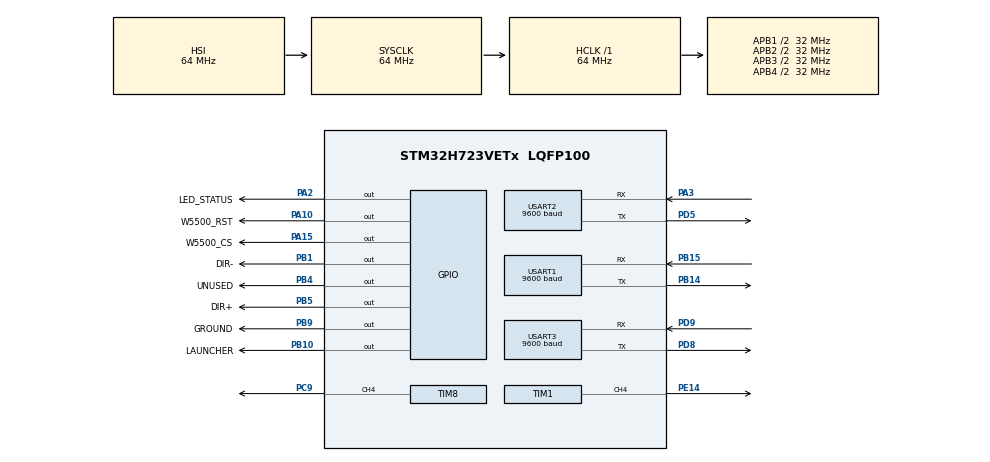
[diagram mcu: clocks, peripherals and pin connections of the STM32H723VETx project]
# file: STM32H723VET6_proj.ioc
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Dma.Request0=TIM1_CH4
Dma.TIM1_CH4.0.Direction=DMA_MEMORY_TO_PERIPH
Dma.TIM1_CH4.0.EventEnable=DISABLE
Dma.TIM1_CH4.0.FIFOMode=DMA_FIFOMODE_DISABLE
Dma.TIM1_CH4.0.Instance=DMA1_Stream0
Dma.TIM1_CH4.0.MemDataAlignment=DMA_MDATAALIGN_HALFWORD
Dma.TIM1_CH4.0.MemInc=DMA_MINC_ENABLE
Dma.TIM1_CH4.0.Mode=DMA_NORMAL
Dma.TIM1_CH4.0.PeriphDataAlignment=DMA_PDATAALIGN_HALFWORD
Dma.TIM1_CH4.0.PeriphInc=DMA_PINC_DISABLE
Dma.TIM1_CH4.0.Polarity=HAL_DMAMUX_REQ_GEN_RISING
Dma.TIM1_CH4.0.Priority=DMA_PRIORITY_LOW
Dma.TIM1_CH4.0.RequestNumber=1
Dma.TIM1_CH4.0.SignalID=NONE
Dma.TIM1_CH4.0.SyncEnable=DISABLE
Dma.TIM1_CH4.0.SyncPolarity=HAL_DMAMUX_SYNC_NO_EVENT
Dma.TIM1_CH4.0.SyncRequestNumber=1
Dma.TIM1_CH4.0.SyncSignalID=NONE
Mcu.Family=STM32H7
Mcu.Name=STM32H723VETx
Mcu.Package=LQFP100
NVIC.DMA1_Stream0_IRQn=true\:0\:0\:false\:false\:true\:false\:true\:true
NVIC.PriorityGroup=NVIC_PRIORITYGROUP_4
PA10.GPIO_Label=W5500_RST
PA10.GPIO_Speed=GPIO_SPEED_FREQ_HIGH
PA10.Signal=GPIO_Output
PA13(JTMS/SWDIO).Mode=Trace_Asynchronous_SW
PA13(JTMS/SWDIO).Signal=DEBUG_JTMS-SWDIO
PA14(JTCK/SWCLK).Mode=Trace_Asynchronous_SW
PA14(JTCK/SWCLK).Signal=DEBUG_JTCK-SWCLK
PA15(JTDI).GPIO_Label=W5500_CS
PA15(JTDI).GPIO_Speed=GPIO_SPEED_FREQ_HIGH
PA15(JTDI).Signal=GPIO_Output
PA2.GPIO_Label=LED_STATUS
PA2.Signal=GPIO_Output
PA3.Mode=Asynchronous
PA3.Signal=USART2_RX
PB1.GPIO_Label=DIR-
PB1.Signal=GPIO_Output
PB10.GPIO_Label=LAUNCHER
PB10.GPIO_ModeDefaultOutputPP=GPIO_MODE_OUTPUT_PP
PB10.PinState=GPIO_PIN_RESET
PB10.Signal=GPIO_Output
PB14.Mode=Asynchronous
PB14.Signal=USART1_TX
PB15.Mode=Asynchronous
PB15.Signal=USART1_RX
PB3(JTDO/TRACESWO).Mode=Trace_Asynchronous_SW
PB3(JTDO/TRACESWO).Signal=DEBUG_JTDO-SWO
PB4(NJTRST).GPIO_Label=UNUSED
PB4(NJTRST).GPIO_Speed=GPIO_SPEED_FREQ_HIGH
PB4(NJTRST).PinState=GPIO_PIN_RESET
PB4(NJTRST).Signal=GPIO_Output
PB5.GPIO_Label=DIR+
PB5.Signal=GPIO_Output
PB9.GPIO_Label=GROUND
PB9.Signal=GPIO_Output
PC9.Signal=S_TIM8_CH4
PD5.Mode=Asynchronous
PD5.Signal=USART2_TX
PD8.Mode=Asynchronous
PD8.Signal=USART3_TX
PD9.Mode=Asynchronous
PD9.Signal=USART3_RX
PE14.Signal=S_TIM1_CH4
PH0-OSC_IN.Mode=HSE-External-Oscillator
PH0-OSC_IN.Signal=RCC_OSC_IN
PH1-OSC_OUT.Mode=HSE-External-Oscillator
PH1-OSC_OUT.Signal=RCC_OSC_OUT
ProjectManager.HeapSize=0x200
ProjectManager.StackSize=0x400
ProjectManager.TargetToolchain=STM32CubeIDE
RCC.ADCFreq_Value=38400000
RCC.APB1Freq_Value=32000000
RCC.APB2Freq_Value=32000000
RCC.APB3Freq_Value=32000000
RCC.APB4Freq_Value=32000000
RCC.CortexFreq_Value=64000000
RCC.D1PPRE=RCC_APB3_DIV2
RCC.D2PPRE1=RCC_APB1_DIV2
RCC.D2PPRE2=RCC_APB2_DIV2
RCC.D3PPRE=RCC_APB4_DIV2
RCC.DIVM1=4
RCC.DIVM2=1
RCC.DIVN1=48
RCC.DIVN2=12
RCC.DIVP2=5
RCC.DIVQ1=4
RCC.HCLKFreq_Value=64000000
RCC.HSE_VALUE=16000000
RCC.PLL2FRACN=0
RCC.PLLFRACN=0
RCC.PLLSourceVirtual=RCC_PLLSOURCE_HSE
RCC.SPI123CLockSelection=RCC_SPI123CLKSOURCE_CLKP
RCC.SYSCLKFreq_VALUE=64000000
RCC.USBCLockSelection=RCC_USBCLKSOURCE_HSI48
RCC.USBFreq_Value=48000000
SH.S_TIM1_CH4.0=TIM1_CH4,PWM Generation4 CH4
SH.S_TIM8_CH4.0=TIM8_CH4,PWM Generation4 CH4
TIM1.AutoReloadPreload=TIM_AUTORELOAD_PRELOAD_DISABLE
TIM1.Channel-PWM\ Generation4\ CH4=TIM_CHANNEL_4
TIM1.Period=5000-1
TIM1.Prescaler=64-1
TIM8.Channel-PWM\ Generation4\ CH4=TIM_CHANNEL_4
TIM8.OCPolarity_4=TIM_OCPOLARITY_LOW
TIM8.Period=1000
TIM8.Prescaler=64
USART1.BaudRate=9600
USART1.VirtualMode-Asynchronous=VM_ASYNC
USART2.BaudRate=9600
USART2.VirtualMode-Asynchronous=VM_ASYNC
USART3.BaudRate=9600
USART3.VirtualMode-Asynchronous=VM_ASYNC
VP_TIM8_VS_ClockSourceINT.Mode=Internal
board=custom

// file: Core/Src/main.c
/* USER CODE BEGIN Header */
/**
  ******************************************************************************
  * @file           : main.c
  * @brief          : Main program body
  ******************************************************************************
  * @attention
  *
  * Copyright (c) 2023 STMicroelectronics.
  * All rights reserved.
  *
  * This software is licensed under terms that can be found in the LICENSE file
  * in the root directory of this software component.
  * If no LICENSE file comes with this software, it is provided AS-IS.
  *
  ******************************************************************************
  */
/* USER CODE END Header */
#include "main.h"

/* USER CODE BEGIN Includes */
#include "motors.h"
#include <string.h>
#include <stdio.h>
#include <stdlib.h>
/* USER CODE END Includes */

/* USER CODE BEGIN PD */
#define COUNT 7
#define KD 2
#define READY_MSG "READY"
/* USER CODE END PD */

/* USER CODE BEGIN PM */
/* Macro: 		PRINT_STR2
 * Description:	Takes an 8 bit array and transmits via UART2
 * Parameters:	An array to be sent via the UART2
 */
#define PRINT_STR2(msg) do  { \
  HAL_UART_Transmit(&huart2, (uint8_t*)msg, strlen(msg), 100); \
} while(0)

/* Macro: 		PRINT_STR1
 * Description:	Takes an 8 bit array and transmits via UART1
 * Parameters:	An array to be sent via the UART1
 */
#define PRINT_STR1(msg) do  { \
  HAL_UART_Transmit(&huart1, (uint8_t*)msg, strlen(msg), 100); \
} while(0)

/* Macro: 		NANO_RECEIVE
 * Description:	Receives up to 30 bits from UART2 and stores them using the provided pointer
 * Parameters:	A pointer to an array to hold the transmitted message
 */
#define NANO_RECEIVE(str) do { \
	HAL_UART_Receive (&huart2, str, 30, 100);\
} while(0)
/* USER CODE END PM */

TIM_HandleTypeDef htim1;
TIM_HandleTypeDef htim8;
DMA_HandleTypeDef hdma_tim1_ch4;

UART_HandleTypeDef huart1;
UART_HandleTypeDef huart2;
UART_HandleTypeDef huart3;

/* USER CODE BEGIN PV */
// Global Variables
uint8_t msg[60];		// Generic 8 bit array to store messages in.
/* USER CODE END PV */

void SystemClock_Config(void);
static void MX_GPIO_Init(void);
static void MX_DMA_Init(void);
static void MX_USART1_UART_Init(void);
static void MX_USART2_UART_Init(void);
static void MX_USART3_UART_Init(void);
static void MX_TIM1_Init(void);
static void MX_TIM8_Init(void);
/* USER CODE BEGIN PFP */
void LED_On(void);
void LED_Off(void);
void print_network_information(void);
/* USER CODE END PFP */

/* USER CODE BEGIN 0 */
char *data = "Hello World from USB CDC\n";

/*
 * Function:	LED_On
 * Description:	Turns the status LED on.
 */
void LED_On() {
	HAL_GPIO_WritePin(LED_STATUS_GPIO_Port, LED_STATUS_Pin, GPIO_PIN_SET);
}

/*
 * Function:	LED_Off
 * Description:	Turns the status LED off.
 */
void LED_Off() {
	HAL_GPIO_WritePin(LED_STATUS_GPIO_Port, LED_STATUS_Pin, GPIO_PIN_RESET);
}

/*
 * Function: 	getXY
 * Description: Takes a string and processes out the X and Y coordinates.
 * Parameters:	uint8_t* 	str	Message string formated in x|y format
 * Returns;		uint16_t* 		A two item array with X stored at the 0 spot and Y stored in 1
 */
uint16_t * getXY(uint8_t *str) {
	// Function variables
	uint8_t i, m = 0;
	static  uint16_t xy[2];
    char strX[30], strY[30];

    // Loops through the array
	for (i = 0; i < 100; i++){
		// Copies first part of string into X string
		if (m == 0) {
			strX[i] = str[i];
		// Copies second part of string into Y string
		} else {
			strY[i-(m+1)] = str[i];
		}
		// If the character '|' is found this the end of the X string
		if (str[i] == '|') {
			m = i;
			strX[i] = '\0'; // Replaces '|' with end of string character
		}
		// Once we have reached the end of the input sting we break the loop
		if (str[i] == '\0')
			break;
	}
	xy[0] = atoi(strX);	// Convert the X string to an number
	xy[1] = atoi(strY); // Convert the Y string to an number

	return xy; // Return both X and Y as numbers in an array
}
/*
 * Function: 	launcher_On
 * Description: Sets control line to launcher high.
 */
void launcher_On() {
	HAL_GPIO_WritePin(GPIOB, LAUNCHER_Pin, GPIO_PIN_SET);
}

/* Function: 	launcher_Off
 * Description: Sets control line to launcher low.
 */
void launcher_Off() {
	HAL_GPIO_WritePin(GPIOB, LAUNCHER_Pin, GPIO_PIN_RESET);
}
/* USER CODE END 0 */

int main(void)
{
  /* USER CODE BEGIN 1 */
	// Main function variables
	uint8_t str[30];				// Array to store received messages in
	uint16_t *xy; 					// Array to store XY coordinates pulled from message
	uint16_t x[COUNT], y[COUNT];	// Arrays to store tracked XY coordinates
	uint16_t delta_sumX, delta_sumY;// Arrays to store total change between tracked points
	uint16_t tXd, tYd;				// Average change between tracked points
	uint16_t lY, lX; 				// Last tracked XY coordinates
	uint16_t tarY, tarX;			// Target XY coordinates;
	int elev, rot;					// Control values for motors
	uint8_t noTarget = 0;			// Wether or not an object is being trakced
	uint8_t dir;					// Direction the object was tracked moving
	uint8_t dirList[4] = {0,0,0,0};	// Array storing the counts for which direction the object is moving
	uint8_t dirLarg = 0; 			// Largest direction counted yet
	uint8_t j = 0;					// General purpose variable
	uint8_t ready[strlen(READY_MSG) +1];// Ready message
  /* USER CODE END 1 */

  /* MCU Configuration--------------------------------------------------------*/

  /* Reset of all peripherals, Initializes the Flash interface and the Systick. */
  HAL_Init();

  /* Configure the system clock */
  SystemClock_Config();

  /* Initialize all configured peripherals */
  MX_GPIO_Init();
  MX_DMA_Init();
  MX_USART1_UART_Init();
  MX_USART2_UART_Init();
  MX_USART3_UART_Init();
  MX_TIM1_Init();
  MX_TIM8_Init();
  /* USER CODE BEGIN 2 */
	// Set GPIO pins being used for ground to ground
	HAL_GPIO_WritePin(GPIOB, GPIO_PIN_1 | GPIO_PIN_9, GPIO_PIN_RESET);

  // Initialize stating position
	set_LiftMotor(0);		// Set elevation motor to half elevation
	launcher_Off();			// Set launcher to off
	LED_On();					// Pulse LED for 50 ms to signal end of initialization
	HAL_Delay(50);			//
	LED_Off();				//

	HAL_Delay(2000);
	move_To_Position(1000, 70);

	// Fire Launcher
	LED_Off();
	launcher_On();
	HAL_Delay(100);	// VERY IMPORTANT DELAY CHANGING THIS COULD DESTROY ACTURATOR CONTROL
	launcher_Off();
	LED_On();
	HAL_Delay(500);

	move_To_Position(-1000, 0);

	while(1);

	// Wait for ready message from Jetson Nano
	do{
		HAL_UART_Receive (&huart2, ready, strlen(READY_MSG), 100);
		ready[5] = '\0';
	} while (strcmp((char*)ready,READY_MSG) != 0);
	// Wait for Jetson to be ready to send data
	LED_On();
	HAL_Delay(8000);
	LED_Off();

  /* USER CODE END 2 */

  /* Infinite loop */
  /* USER CODE BEGIN WHILE */
	// Main control loop
	while (1) {
		// Set total change to zero
		delta_sumX = 0;
		delta_sumY = 0;
    /* USER CODE END WHILE */

    /* USER CODE BEGIN 3 */
		// Wait as long as received data is nothing
	  	do {
	  		NANO_RECEIVE(str);
	  	} while (str[0] == '0');

	  	// Once target is acquired set value and turn on LED
	  	noTarget = 1;
	  	LED_On();

	  	xy = getXY(str);	// Get XY coordinates from data string
	  	x[0] = xy[0];		// Save X coordinate
	  	y[0] = xy[1];		// Save Y coordinate

	  	// Print out data received to serial terminal
	  	sprintf((char*)msg, "%d|%d\r\n", x[0],y[0]);
	  	PRINT_STR1((char*)msg);

	  	// Continue collecting points until we have enough to plot track
	  	for (int i = 1; i < COUNT; i++) {
	  		NANO_RECEIVE(str);				// Receive XY data string
		  	if (str[0] == '0') {			// If no object detected
		  		i--;						// Reduce count by one
		  	} else {
		  		xy = getXY(str);			// Get XY coordinates from data string
		  		if (xy[0] == 0 || xy[1] == 0) {
		  			i--;					// If both coordinates are zero reduce count by one
		  		} else {
		  			x[i] = xy[0];			// Save X coordinate
		  			y[i] = xy[1];			// Save Y coordinate

		  			// Compute which direction the object is tracking in
		  			if (x[i-1] > x[i])
		  				if(y[i-1] > y[i])
		  					dirList[0]++;	// Tracking down and to the left
		  				else
		  					dirList[1]++;	// Tracking up and to the left
		  			else
		  				if(y[i-1] > y[i])
		  					dirList[3]++;	// Tracking down and to the right
		  				else
		  					dirList[4]++;	// Tracking up and to the right

		  			// Print out data received to serial terminal
		  			sprintf((char*)msg, "%d|%d\r\n", x[i],y[i]);
		  			PRINT_STR1((char*)msg);

		  			// Update sum of directional change
		  			delta_sumX += abs(x[i] - x[i-1]);
		  			delta_sumY += abs(y[i] - y[i-1]);
		  		} // End of valid data else
		  	} // End of detection data else
	  	} // End of tracking loop

	  	// Tracking complete turn off LED
	  	LED_Off();

	  	// Compute average change in tracked points and multiply by constant
	  	tXd = (delta_sumX / COUNT) * KD;
	  	tYd = (delta_sumY / COUNT) * KD;

	  	// Save last positions tracked
	  	lX = x[COUNT - 1];
	  	lY = y[COUNT - 1];

	  	// Derive  which direction the tracking tended to
	  	dir = 0; // Set default direction
	  	for (uint8_t i = 0; i < 4; i++){	// Loop through counts of direction
	  		if (dirList[i] > dirLarg){		// If direction has larger count
	  			dir = i;					// save it as the new direction
	  		}
	  	}

	  	// Computes XY target based on direction
	  	switch(dir) {
	  	case 0:				// Up and to the left
	  		tarX = lX - tXd;
	  		tarY = lY - tYd;
	  		break;
	  	case 1:				// Down and to the left
	  		tarX = lX - tXd;
	  		tarY = lY + tYd;
	  		break;
	  	case 2:				// Up and to the right
	  		tarX = lX + tXd;
	  		tarY = lY - tYd;
	  		break;
	  	case 3:				// Down and to the right
	  		tarX = lX + tXd;
	  		tarY = lY + tYd;
	  		break;
	  	}

	  	// Output all target and tracking data to serial terminal
	  	sprintf((char*)msg, "T:%d|%d\r\n", tarX,tarY);
	  	PRINT_STR1((char*)msg);
	  	sprintf((char*)msg, "AveDX: %d AveDY: %d SumDX: %d SumDY: %d Dir: %d\r\n", tXd, tYd, delta_sumX, delta_sumY, dir);
	  	PRINT_STR1((char*)msg);

	  	// Calculate elevation control value from Y target coordinate
	  	elev = 100 - (tarY / 10.8); // new value is 0 to 100 percent extension
	  	if (elev < 50)				// If less than zero
	  		elev = 50;				// value is zero
	  	if (elev > 100)				// If greater than 100
	  		elev = 100;				// value is 100

	  	// Calculate rotation control value from X target coordinate
	  	rot = (tarX - 1920)/2.4;	// Compute rotation motor control value
	  	if (rot < -800)				// If less than -400
	  		rot = -800;				// value is -400
	  	else if (rot > 800)			// If greater than 400
	  		rot = 800;				// value is 400

	  	// Output motor control values to serial terminal
	  	sprintf((char*)msg, "rot: %d elev: %d \r\n", rot, elev);
	  	PRINT_STR1((char*)msg);

	  	// Turn on status light to show motor movement is imminent
	  	LED_On();

	  	move_To_Position(rot, (uint8_t)elev);	// Send motor control values this
	  											// This function ends when motors have reached there target

	  	// Fire Launcher
	  	LED_Off();
	  	launcher_On();
	  	HAL_Delay(100);	// VERY IMPORTANT DELAY CHANGING THIS COULD DESTROY ACTURATOR CONTROL
	  	launcher_Off();
	  	LED_On();

	  	HAL_Delay(3000);			// Wait three seconds
	  	LED_Off();					// Turn off LED to signal end of launching process
	  	move_To_Position(-rot, 0);	// Return motor to home position

	  	while(1);					// Keep the microprocessor busy
	} // End of main control loop
  /* USER CODE END 3 */
}

void SystemClock_Config(void)
{
  RCC_OscInitTypeDef RCC_OscInitStruct = {0};
  RCC_ClkInitTypeDef RCC_ClkInitStruct = {0};

  /** Supply configuration update enable
  */
  HAL_PWREx_ConfigSupply(PWR_LDO_SUPPLY);

  /** Configure the main internal regulator output voltage
  */
  __HAL_PWR_VOLTAGESCALING_CONFIG(PWR_REGULATOR_VOLTAGE_SCALE3);

  while(!__HAL_PWR_GET_FLAG(PWR_FLAG_VOSRDY)) {}

  /** Initializes the RCC Oscillators according to the specified parameters
  * in the RCC_OscInitTypeDef structure.
  */
  RCC_OscInitStruct.OscillatorType = RCC_OSCILLATORTYPE_HSI;
  RCC_OscInitStruct.HSIState = RCC_HSI_DIV1;
  RCC_OscInitStruct.HSICalibrationValue = 64;
  RCC_OscInitStruct.PLL.PLLState = RCC_PLL_NONE;
  if (HAL_RCC_OscConfig(&RCC_OscInitStruct) != HAL_OK)
  {
    Error_Handler();
  }

  /** Initializes the CPU, AHB and APB buses clocks
  */
  RCC_ClkInitStruct.ClockType = RCC_CLOCKTYPE_HCLK|RCC_CLOCKTYPE_SYSCLK
                              |RCC_CLOCKTYPE_PCLK1|RCC_CLOCKTYPE_PCLK2
                              |RCC_CLOCKTYPE_D3PCLK1|RCC_CLOCKTYPE_D1PCLK1;
  RCC_ClkInitStruct.SYSCLKSource = RCC_SYSCLKSOURCE_HSI;
  RCC_ClkInitStruct.SYSCLKDivider = RCC_SYSCLK_DIV1;
  RCC_ClkInitStruct.AHBCLKDivider = RCC_HCLK_DIV1;
  RCC_ClkInitStruct.APB3CLKDivider = RCC_APB3_DIV2;
  RCC_ClkInitStruct.APB1CLKDivider = RCC_APB1_DIV2;
  RCC_ClkInitStruct.APB2CLKDivider = RCC_APB2_DIV2;
  RCC_ClkInitStruct.APB4CLKDivider = RCC_APB4_DIV2;

  if (HAL_RCC_ClockConfig(&RCC_ClkInitStruct, FLASH_LATENCY_1) != HAL_OK)
  {
    Error_Handler();
  }
}

static void MX_TIM1_Init(void)
{

  TIM_MasterConfigTypeDef sMasterConfig = {0};
  TIM_OC_InitTypeDef sConfigOC = {0};
  TIM_BreakDeadTimeConfigTypeDef sBreakDeadTimeConfig = {0};

  htim1.Instance = TIM1;
  htim1.Init.Prescaler = 64-1;
  htim1.Init.CounterMode = TIM_COUNTERMODE_UP;
  htim1.Init.Period = 5000-1;
  htim1.Init.ClockDivision = TIM_CLOCKDIVISION_DIV1;
  htim1.Init.RepetitionCounter = 0;
  htim1.Init.AutoReloadPreload = TIM_AUTORELOAD_PRELOAD_DISABLE;
  if (HAL_TIM_PWM_Init(&htim1) != HAL_OK)
  {
    Error_Handler();
  }
  sMasterConfig.MasterOutputTrigger = TIM_TRGO_RESET;
  sMasterConfig.MasterOutputTrigger2 = TIM_TRGO2_RESET;
  sMasterConfig.MasterSlaveMode = TIM_MASTERSLAVEMODE_DISABLE;
  if (HAL_TIMEx_MasterConfigSynchronization(&htim1, &sMasterConfig) != HAL_OK)
  {
    Error_Handler();
  }
  sConfigOC.OCMode = TIM_OCMODE_PWM1;
  sConfigOC.Pulse = 0;
  sConfigOC.OCPolarity = TIM_OCPOLARITY_HIGH;
  sConfigOC.OCFastMode = TIM_OCFAST_DISABLE;
  sConfigOC.OCIdleState = TIM_OCIDLESTATE_RESET;
  sConfigOC.OCNIdleState = TIM_OCNIDLESTATE_RESET;
  if (HAL_TIM_PWM_ConfigChannel(&htim1, &sConfigOC, TIM_CHANNEL_4) != HAL_OK)
  {
    Error_Handler();
  }
  sBreakDeadTimeConfig.OffStateRunMode = TIM_OSSR_DISABLE;
  sBreakDeadTimeConfig.OffStateIDLEMode = TIM_OSSI_DISABLE;
  sBreakDeadTimeConfig.LockLevel = TIM_LOCKLEVEL_OFF;
  sBreakDeadTimeConfig.DeadTime = 0;
  sBreakDeadTimeConfig.BreakState = TIM_BREAK_DISABLE;
  sBreakDeadTimeConfig.BreakPolarity = TIM_BREAKPOLARITY_HIGH;
  sBreakDeadTimeConfig.BreakFilter = 0;
  sBreakDeadTimeConfig.Break2State = TIM_BREAK2_DISABLE;
  sBreakDeadTimeConfig.Break2Polarity = TIM_BREAK2POLARITY_HIGH;
  sBreakDeadTimeConfig.Break2Filter = 0;
  sBreakDeadTimeConfig.AutomaticOutput = TIM_AUTOMATICOUTPUT_DISABLE;
  if (HAL_TIMEx_ConfigBreakDeadTime(&htim1, &sBreakDeadTimeConfig) != HAL_OK)
  {
    Error_Handler();
  }
  HAL_TIM_MspPostInit(&htim1);

}

static void MX_TIM8_Init(void)
{

  TIM_ClockConfigTypeDef sClockSourceConfig = {0};
  TIM_MasterConfigTypeDef sMasterConfig = {0};
  TIM_OC_InitTypeDef sConfigOC = {0};
  TIM_BreakDeadTimeConfigTypeDef sBreakDeadTimeConfig = {0};

  htim8.Instance = TIM8;
  htim8.Init.Prescaler = 64;
  htim8.Init.CounterMode = TIM_COUNTERMODE_UP;
  htim8.Init.Period = 1000;
  htim8.Init.ClockDivision = TIM_CLOCKDIVISION_DIV1;
  htim8.Init.RepetitionCounter = 0;
  htim8.Init.AutoReloadPreload = TIM_AUTORELOAD_PRELOAD_DISABLE;
  if (HAL_TIM_Base_Init(&htim8) != HAL_OK)
  {
    Error_Handler();
  }
  sClockSourceConfig.ClockSource = TIM_CLOCKSOURCE_INTERNAL;
  if (HAL_TIM_ConfigClockSource(&htim8, &sClockSourceConfig) != HAL_OK)
  {
    Error_Handler();
  }
  if (HAL_TIM_PWM_Init(&htim8) != HAL_OK)
  {
    Error_Handler();
  }
  sMasterConfig.MasterOutputTrigger = TIM_TRGO_RESET;
  sMasterConfig.MasterOutputTrigger2 = TIM_TRGO2_RESET;
  sMasterConfig.MasterSlaveMode = TIM_MASTERSLAVEMODE_DISABLE;
  if (HAL_TIMEx_MasterConfigSynchronization(&htim8, &sMasterConfig) != HAL_OK)
  {
    Error_Handler();
  }
  sConfigOC.OCMode = TIM_OCMODE_PWM1;
  sConfigOC.Pulse = 0;
  sConfigOC.OCPolarity = TIM_OCPOLARITY_LOW;
  sConfigOC.OCFastMode = TIM_OCFAST_DISABLE;
  sConfigOC.OCIdleState = TIM_OCIDLESTATE_RESET;
  sConfigOC.OCNIdleState = TIM_OCNIDLESTATE_RESET;
  if (HAL_TIM_PWM_ConfigChannel(&htim8, &sConfigOC, TIM_CHANNEL_4) != HAL_OK)
  {
    Error_Handler();
  }
  sBreakDeadTimeConfig.OffStateRunMode = TIM_OSSR_DISABLE;
  sBreakDeadTimeConfig.OffStateIDLEMode = TIM_OSSI_DISABLE;
  sBreakDeadTimeConfig.LockLevel = TIM_LOCKLEVEL_OFF;
  sBreakDeadTimeConfig.DeadTime = 0;
  sBreakDeadTimeConfig.BreakState = TIM_BREAK_DISABLE;
  sBreakDeadTimeConfig.BreakPolarity = TIM_BREAKPOLARITY_HIGH;
  sBreakDeadTimeConfig.BreakFilter = 0;
  sBreakDeadTimeConfig.Break2State = TIM_BREAK2_DISABLE;
  sBreakDeadTimeConfig.Break2Polarity = TIM_BREAK2POLARITY_HIGH;
  sBreakDeadTimeConfig.Break2Filter = 0;
  sBreakDeadTimeConfig.AutomaticOutput = TIM_AUTOMATICOUTPUT_DISABLE;
  if (HAL_TIMEx_ConfigBreakDeadTime(&htim8, &sBreakDeadTimeConfig) != HAL_OK)
  {
    Error_Handler();
  }
  HAL_TIM_MspPostInit(&htim8);

}

static void MX_USART1_UART_Init(void)
{

  huart1.Instance = USART1;
  huart1.Init.BaudRate = 9600;
  huart1.Init.WordLength = UART_WORDLENGTH_8B;
  huart1.Init.StopBits = UART_STOPBITS_1;
  huart1.Init.Parity = UART_PARITY_NONE;
  huart1.Init.Mode = UART_MODE_TX_RX;
  huart1.Init.HwFlowCtl = UART_HWCONTROL_NONE;
  huart1.Init.OverSampling = UART_OVERSAMPLING_16;
  huart1.Init.OneBitSampling = UART_ONE_BIT_SAMPLE_DISABLE;
  huart1.Init.ClockPrescaler = UART_PRESCALER_DIV1;
  huart1.AdvancedInit.AdvFeatureInit = UART_ADVFEATURE_NO_INIT;
  if (HAL_UART_Init(&huart1) != HAL_OK)
  {
    Error_Handler();
  }
  if (HAL_UARTEx_SetTxFifoThreshold(&huart1, UART_TXFIFO_THRESHOLD_1_8) != HAL_OK)
  {
    Error_Handler();
  }
  if (HAL_UARTEx_SetRxFifoThreshold(&huart1, UART_RXFIFO_THRESHOLD_1_8) != HAL_OK)
  {
    Error_Handler();
  }
  if (HAL_UARTEx_DisableFifoMode(&huart1) != HAL_OK)
  {
    Error_Handler();
  }

}

static void MX_USART2_UART_Init(void)
{

  huart2.Instance = USART2;
  huart2.Init.BaudRate = 9600;
  huart2.Init.WordLength = UART_WORDLENGTH_8B;
  huart2.Init.StopBits = UART_STOPBITS_1;
  huart2.Init.Parity = UART_PARITY_NONE;
  huart2.Init.Mode = UART_MODE_TX_RX;
  huart2.Init.HwFlowCtl = UART_HWCONTROL_NONE;
  huart2.Init.OverSampling = UART_OVERSAMPLING_16;
  huart2.Init.OneBitSampling = UART_ONE_BIT_SAMPLE_DISABLE;
  huart2.Init.ClockPrescaler = UART_PRESCALER_DIV1;
  huart2.AdvancedInit.AdvFeatureInit = UART_ADVFEATURE_NO_INIT;
  if (HAL_UART_Init(&huart2) != HAL_OK)
  {
    Error_Handler();
  }
  if (HAL_UARTEx_SetTxFifoThreshold(&huart2, UART_TXFIFO_THRESHOLD_1_8) != HAL_OK)
  {
    Error_Handler();
  }
  if (HAL_UARTEx_SetRxFifoThreshold(&huart2, UART_RXFIFO_THRESHOLD_1_8) != HAL_OK)
  {
    Error_Handler();
  }
  if (HAL_UARTEx_DisableFifoMode(&huart2) != HAL_OK)
  {
    Error_Handler();
  }

}

static void MX_USART3_UART_Init(void)
{

  huart3.Instance = USART3;
  huart3.Init.BaudRate = 9600;
  huart3.Init.WordLength = UART_WORDLENGTH_8B;
  huart3.Init.StopBits = UART_STOPBITS_1;
  huart3.Init.Parity = UART_PARITY_NONE;
  huart3.Init.Mode = UART_MODE_TX_RX;
  huart3.Init.HwFlowCtl = UART_HWCONTROL_NONE;
  huart3.Init.OverSampling = UART_OVERSAMPLING_16;
  huart3.Init.OneBitSampling = UART_ONE_BIT_SAMPLE_DISABLE;
  huart3.Init.ClockPrescaler = UART_PRESCALER_DIV1;
  huart3.AdvancedInit.AdvFeatureInit = UART_ADVFEATURE_NO_INIT;
  if (HAL_UART_Init(&huart3) != HAL_OK)
  {
    Error_Handler();
  }
  if (HAL_UARTEx_SetTxFifoThreshold(&huart3, UART_TXFIFO_THRESHOLD_1_8) != HAL_OK)
  {
    Error_Handler();
  }
  if (HAL_UARTEx_SetRxFifoThreshold(&huart3, UART_RXFIFO_THRESHOLD_1_8) != HAL_OK)
  {
    Error_Handler();
  }
  if (HAL_UARTEx_DisableFifoMode(&huart3) != HAL_OK)
  {
    Error_Handler();
  }

}

static void MX_DMA_Init(void)
{

  /* DMA controller clock enable */
  __HAL_RCC_DMA1_CLK_ENABLE();

  /* DMA interrupt init */
  /* DMA1_Stream0_IRQn interrupt configuration */
  HAL_NVIC_SetPriority(DMA1_Stream0_IRQn, 0, 0);
  HAL_NVIC_EnableIRQ(DMA1_Stream0_IRQn);

}

static void MX_GPIO_Init(void)
{
  GPIO_InitTypeDef GPIO_InitStruct = {0};

  /* GPIO Ports Clock Enable */
  __HAL_RCC_GPIOH_CLK_ENABLE();
  __HAL_RCC_GPIOA_CLK_ENABLE();
  __HAL_RCC_GPIOB_CLK_ENABLE();
  __HAL_RCC_GPIOE_CLK_ENABLE();
  __HAL_RCC_GPIOD_CLK_ENABLE();
  __HAL_RCC_GPIOC_CLK_ENABLE();

  /*Configure GPIO pin Output Level */
  HAL_GPIO_WritePin(GPIOA, LED_STATUS_Pin|W5500_RST_Pin|W5500_CS_Pin, GPIO_PIN_RESET);

  /*Configure GPIO pin Output Level */
  HAL_GPIO_WritePin(GPIOB, DIR__Pin|LAUNCHER_Pin|UNUSED_Pin|DIR_B5_Pin
                          |GROUND_Pin, GPIO_PIN_RESET);

  /*Configure GPIO pin : LED_STATUS_Pin */
  GPIO_InitStruct.Pin = LED_STATUS_Pin;
  GPIO_InitStruct.Mode = GPIO_MODE_OUTPUT_PP;
  GPIO_InitStruct.Pull = GPIO_NOPULL;
  GPIO_InitStruct.Speed = GPIO_SPEED_FREQ_LOW;
  HAL_GPIO_Init(LED_STATUS_GPIO_Port, &GPIO_InitStruct);

  /*Configure GPIO pins : DIR__Pin LAUNCHER_Pin DIR_B5_Pin GROUND_Pin */
  GPIO_InitStruct.Pin = DIR__Pin|LAUNCHER_Pin|DIR_B5_Pin|GROUND_Pin;
  GPIO_InitStruct.Mode = GPIO_MODE_OUTPUT_PP;
  GPIO_InitStruct.Pull = GPIO_NOPULL;
  GPIO_InitStruct.Speed = GPIO_SPEED_FREQ_LOW;
  HAL_GPIO_Init(GPIOB, &GPIO_InitStruct);

  /*Configure GPIO pins : W5500_RST_Pin W5500_CS_Pin */
  GPIO_InitStruct.Pin = W5500_RST_Pin|W5500_CS_Pin;
  GPIO_InitStruct.Mode = GPIO_MODE_OUTPUT_PP;
  GPIO_InitStruct.Pull = GPIO_NOPULL;
  GPIO_InitStruct.Speed = GPIO_SPEED_FREQ_HIGH;
  HAL_GPIO_Init(GPIOA, &GPIO_InitStruct);

  /*Configure GPIO pin : UNUSED_Pin */
  GPIO_InitStruct.Pin = UNUSED_Pin;
  GPIO_InitStruct.Mode = GPIO_MODE_OUTPUT_PP;
  GPIO_InitStruct.Pull = GPIO_NOPULL;
  GPIO_InitStruct.Speed = GPIO_SPEED_FREQ_HIGH;
  HAL_GPIO_Init(UNUSED_GPIO_Port, &GPIO_InitStruct);

}

void Error_Handler(void)
{
  __disable_irq();
  while (1)
  {
  }
}
